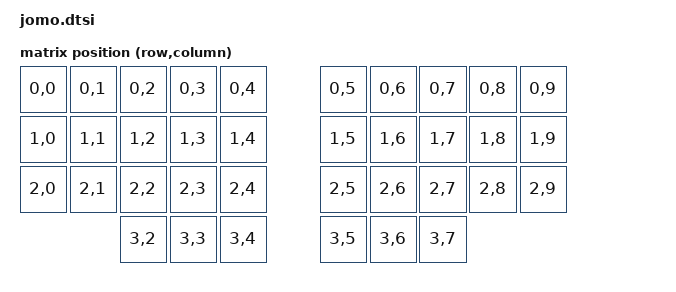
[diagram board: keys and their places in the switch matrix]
#include <dt-bindings/zmk/matrix_transform.h> // Put this with the other includes at the top of your dtsi
#include "jomo-layouts.dtsi"

/ {
    kscan0: kscan0 {
        compatible = "zmk,kscan-gpio-matrix";
        diode-direction = "col2row";
        wakeup-source;
    };
};

/ {
    default_transform: keymap_transform0 {
        compatible = "zmk,matrix-transform";
        columns = <10>;
        rows = <4>;
        map = <
        //  LKey 1 |LKey 2 |LKey 3 |LKey 4 |LKey 5     RKey 1
            RC(0,0) RC(0,1) RC(0,2) RC(0,3) RC(0,4)    RC(0,5) RC(0,6) RC(0,7) RC(0,8) RC(0,9)
        //  LKey 6 |LKey 7 |LKey 8 |LKey 9 |LKey10     RKey 6
            RC(1,0) RC(1,1) RC(1,2) RC(1,3) RC(1,4)    RC(1,5) RC(1,6) RC(1,7) RC(1,8) RC(1,9)
        //  LKey11 |LKey12 |LKey13 |LKey14 |LKey15     RKey11
            RC(2,0) RC(2,1) RC(2,2) RC(2,3) RC(2,4)    RC(2,5) RC(2,6) RC(2,7) RC(2,8) RC(2,9)
        //                 |LKey16 |LKey17 |LKey18     RKey16
                            RC(3,2) RC(3,3) RC(3,4)    RC(3,5) RC(3,6) RC(3,7)
        >;
    };
};

/ {
    chosen {
        zmk,physical-layout = &physical_layout0;
    };
};
